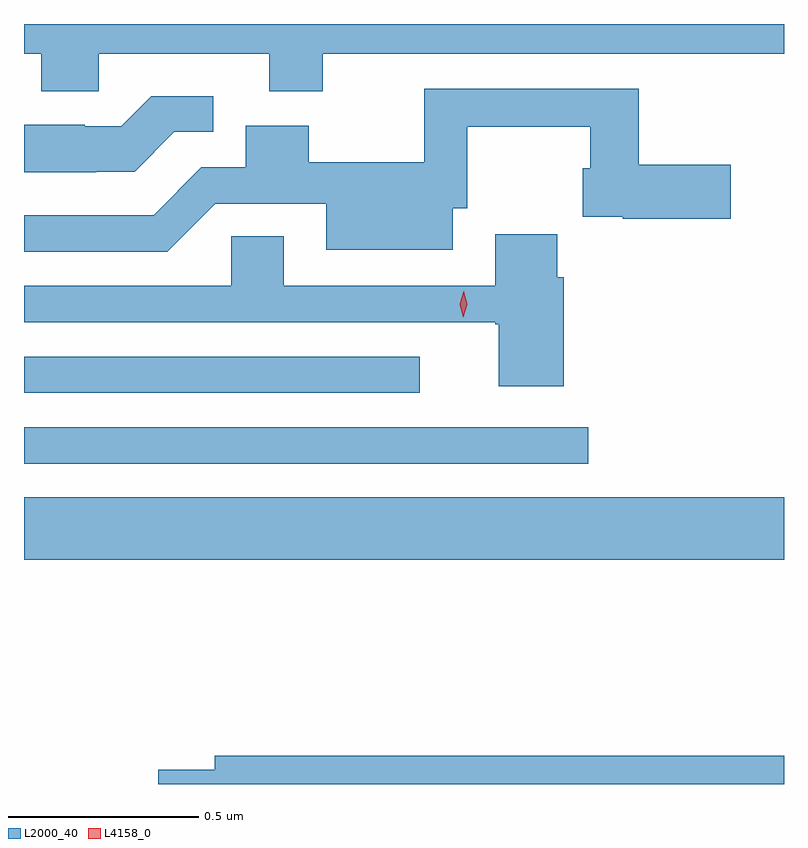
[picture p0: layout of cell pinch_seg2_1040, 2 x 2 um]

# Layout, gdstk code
import gdstk
lib = gdstk.Library(unit=1e-6, precision=1e-09)
def R(c, l, rs):  # rectangles x0, y0, x1, y1
    for r in rs: c.add(gdstk.rectangle(r[:2], r[2:], *l))
def P(c, l, *ps):  # polygons
    for p in ps: c.add(gdstk.Polygon(p, *l))
L2000_40 = (2000, 40)
L4158_0 = (4158, 0)

pinch_seg2_1040 = lib.new_cell('pinch_seg2_1040')
R(pinch_seg2_1040, L2000_40, [(347.245,594.356,349.245,594.52), (347.245,594.609,348.73,594.705), (347.245,594.795,348.286,594.891)])
P(pinch_seg2_1040, L2000_40, [(347.442,595.688),(347.891,595.688),(347.891,595.589),(348.031,595.589),(348.031,595.688),(349.245,595.688),(349.245,595.766),(347.245,595.766),(347.245,595.688),(347.291,595.688),(347.291,595.589),(347.442,595.589)],
  [(347.748,595.293),(348.041,595.293),(348.041,595.172),(348.373,595.172),(348.373,595.281),(348.412,595.281),(348.412,595.495),(348.735,595.495),(348.735,595.387),(348.715,595.387),(348.715,595.259),(348.82,595.259),(348.82,595.253),(349.105,595.253),(349.105,595.395),(348.863,595.395),(348.863,595.596),(348.298,595.596),(348.298,595.402),(347.994,595.402),(347.994,595.498),(347.828,595.498),(347.828,595.389),(347.712,595.389),(347.586,595.263),(347.245,595.263),(347.245,595.167),(347.622,595.167)],
  [(347.435,595.377),(347.536,595.377),(347.641,595.482),(347.743,595.482),(347.743,595.576),(347.58,595.576),(347.501,595.497),(347.405,595.497),(347.405,595.501),(347.245,595.501),(347.245,595.376),(347.435,595.376)],
  [(348.665,595.1),(348.648,595.1),(348.648,595.213),(348.485,595.213),(348.485,595.077),(347.929,595.077),(347.929,595.207),(347.79,595.207),(347.79,595.077),(347.245,595.077),(347.245,594.981),(348.485,594.981),(348.485,594.976),(348.494,594.976),(348.494,594.813),(348.665,594.813)],
  [(349.245,593.84),(347.747,593.84),(347.747,593.804),(347.598,593.804),(347.598,593.766),(349.245,593.766)])
P(pinch_seg2_1040, L4158_0, [(348.401,594.994),(348.401,594.994),(348.392,595.029),(348.402,595.063),(348.402,595.063),(348.402,595.063),(348.412,595.028),(348.401,594.994)])

lib.write_gds('pinch_seg2_1040.gds')
